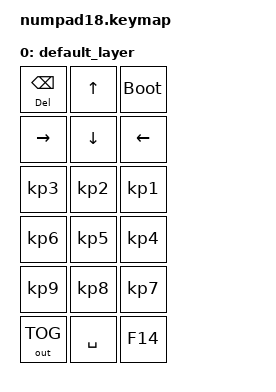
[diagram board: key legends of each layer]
#include <behaviors.dtsi>
#include <dt-bindings/zmk/keys.h>
#include <dt-bindings/zmk/bt.h>
#include <dt-bindings/zmk/outputs.h>

/ {
    behaviors {
        bspc_del: backspace_delete {
            compatible = "zmk,behavior-hold-tap";
            #binding-cells = <2>;
            tapping-term-ms = <300>;
            quick-tap-ms = <200>;
            flavor = "tap-preferred";
            bindings = <&kp>, <&kp>;
        };
    };

    keymap {
        compatible = "zmk,keymap";

        default_layer {
            bindings = <
                &bspc_del DEL BSPC &kp UP     &bootloader
                &kp RIGHT   &kp DOWN   &kp LEFT
                &kp KP_N3  &kp KP_N2  &kp KP_N1
                &kp KP_N6  &kp KP_N5  &kp KP_N4
                &kp KP_N9  &kp KP_N8  &kp KP_N7
                &out OUT_TOG &kp SPACE &kp F14
            >;
        };
    };
};
